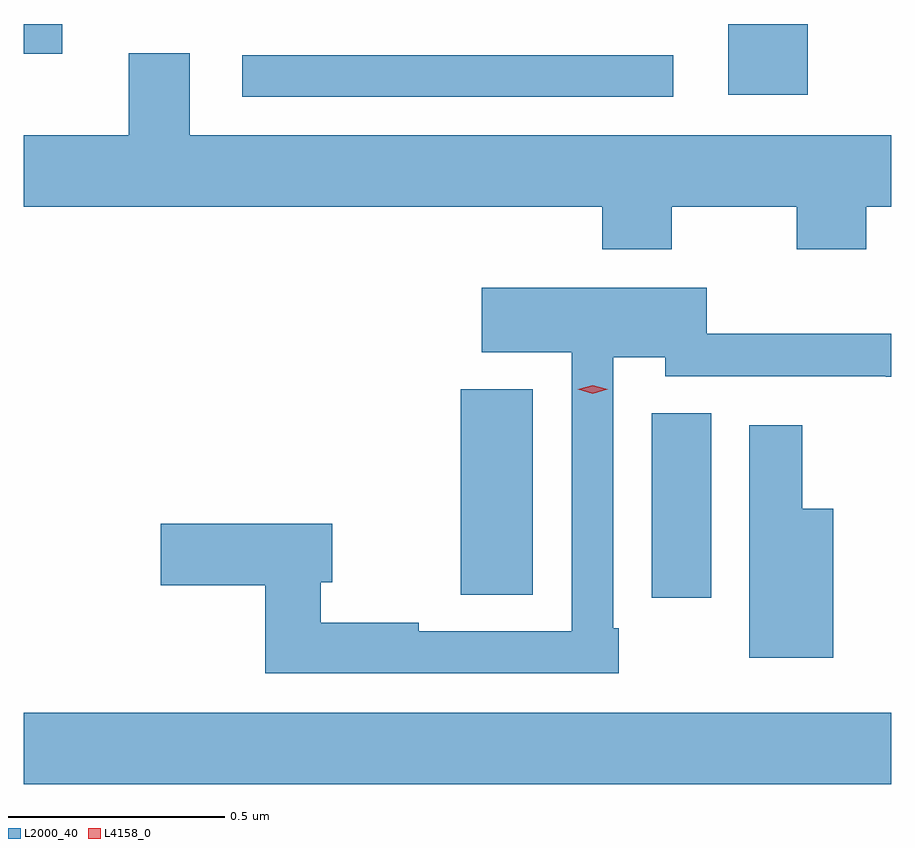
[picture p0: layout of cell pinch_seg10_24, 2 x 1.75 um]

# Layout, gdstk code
import gdstk
lib = gdstk.Library(unit=1e-6, precision=1e-09)
def R(c, l, rs):  # rectangles x0, y0, x1, y1
    for r in rs: c.add(gdstk.rectangle(r[:2], r[2:], *l))
def P(c, l, *ps):  # polygons
    for p in ps: c.add(gdstk.Polygon(p, *l))
L2000_40 = (2000, 40)
L4158_0 = (4158, 0)

pinch_seg10_24 = lib.new_cell('pinch_seg10_24')
R(pinch_seg10_24, L2000_40, [(946.461,1284.332,948.461,1284.496), (947.909,1284.762,948.046,1285.187), (947.468,1284.769,947.635,1285.243), (946.965,1285.917,947.959,1286.013), (948.086,1285.922,948.269,1286.085), (946.461,1286.016,946.549,1286.085)])
P(pinch_seg10_24, L2000_40, [(947.955,1285.664),(948.244,1285.664),(948.244,1285.565),(948.404,1285.565),(948.404,1285.664),(948.461,1285.664),(948.461,1285.828),(946.843,1285.828),(946.843,1286.018),(946.703,1286.018),(946.703,1285.828),(946.461,1285.828),(946.461,1285.664),(947.795,1285.664),(947.795,1285.565),(947.955,1285.565)],
  [(947.833,1284.691),(947.82,1284.691),(947.82,1285.316),(947.94,1285.316),(947.94,1285.272),(948.449,1285.272),(948.449,1285.271),(948.461,1285.271),(948.461,1285.37),(948.036,1285.37),(948.036,1285.477),(947.517,1285.477),(947.517,1285.328),(947.724,1285.328),(947.724,1284.684),(947.372,1284.684),(947.372,1284.704),(947.146,1284.704),(947.146,1284.797),(947.172,1284.797),(947.172,1284.932),(946.776,1284.932),(946.776,1284.79),(947.017,1284.79),(947.017,1284.588),(947.833,1284.588)],
  [(948.328,1284.967),(948.256,1284.967),(948.256,1285.159),(948.134,1285.159),(948.134,1284.623),(948.328,1284.623)])
P(pinch_seg10_24, L4158_0, [(947.773,1285.232),(947.738,1285.242),(947.738,1285.242),(947.738,1285.242),(947.773,1285.252),(947.808,1285.242),(947.808,1285.242),(947.808,1285.242)])

lib.write_gds('pinch_seg10_24.gds')
